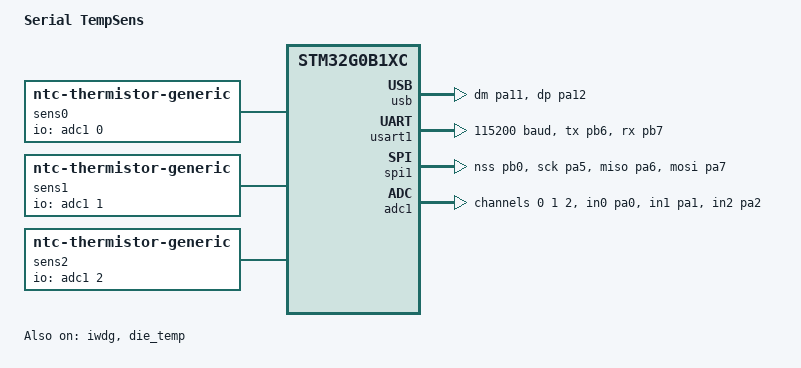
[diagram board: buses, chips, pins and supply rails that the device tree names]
/dts-v1/;
#include <st/g0/stm32g0b1Xc.dtsi>
#include <st/g0/stm32g0b1k(b-c-e)tx-pinctrl.dtsi>
#include <zephyr/dt-bindings/adc/adc.h>

/ {
	model = "Serial TempSens";
	compatible = "oschimdh,serial_temp_sens";

	chosen {
		zephyr,console = &usart1;
		zephyr,shell-uart = &usart1;
		zephyr,com-uart = &cdc_acm_uart0;
		zephyr,sram = &sram0;
		zephyr,flash = &flash0;
		zephyr,code-partition = &slot0_partition;
	};

	sens0: sens0 {
		compatible = "ntc-thermistor-generic";
		zephyr,compensation-table = <(-25) 101898>,
                     <(-15) 59605>,
                     <(-5) 36289>,
                     <(5) 22896>,
                     <(15) 14915>,
                     <(25) 10000>,
                     <(35) 6880>,
                     <(45) 4846>,
                     <(55) 3487>,
                     <(65) 2559>,
                     <(75) 1911>,
                     <(85) 1451>,
                     <(95) 1118>,
                     <(105) 873>,
                     <(115) 691>,
                     <(125) 553>;
		io-channels = <&adc1 0>;
		pullup-uv = <3300000>;
		pullup-ohm = <8200>;
		pulldown-ohm = <0>;
	};

	sens1: sens1 {
		compatible = "ntc-thermistor-generic";
		zephyr,compensation-table = <(-25) 101898>,
                     <(-15) 59605>,
                     <(-5) 36289>,
                     <(5) 22896>,
                     <(15) 14915>,
                     <(25) 10000>,
                     <(35) 6880>,
                     <(45) 4846>,
                     <(55) 3487>,
                     <(65) 2559>,
                     <(75) 1911>,
                     <(85) 1451>,
                     <(95) 1118>,
                     <(105) 873>,
                     <(115) 691>,
                     <(125) 553>;
		io-channels = <&adc1 1>;
		pullup-uv = <3300000>;
		pullup-ohm = <8200>;
		pulldown-ohm = <0>;
	};

	sens2: sens2 {
		compatible = "ntc-thermistor-generic";
		zephyr,compensation-table = <(-25) 101898>,
                     <(-15) 59605>,
                     <(-5) 36289>,
                     <(5) 22896>,
                     <(15) 14915>,
                     <(25) 10000>,
                     <(35) 6880>,
                     <(45) 4846>,
                     <(55) 3487>,
                     <(65) 2559>,
                     <(75) 1911>,
                     <(85) 1451>,
                     <(95) 1118>,
                     <(105) 873>,
                     <(115) 691>,
                     <(125) 553>;
		io-channels = <&adc1 2>;
		pullup-uv = <3300000>;
		pullup-ohm = <8200>;
		pulldown-ohm = <0>;
	};
};

&clk_hsi {
	status = "okay";
};

&clk_hsi48 {
	status = "okay";
	crs-usb-sof;
};

&pll {
	div-m = <1>;
	mul-n = <8>;
	div-p = <2>;
	div-q = <2>;
	div-r = <2>;
	clocks = <&clk_hsi>;
	status = "okay";
};

&rcc {
	clocks = <&pll>;
	clock-frequency = <DT_FREQ_M(64)>;
	ahb-prescaler = <1>;
	apb1-prescaler = <1>;
};

zephyr_udc0: &usb {
	pinctrl-0 = <&usb_dm_pa11 &usb_dp_pa12>;
	pinctrl-names = "default";
	status = "okay";

	cdc_acm_uart0: cdc_acm_uart0 {
		compatible = "zephyr,cdc-acm-uart";
	};
};

&usart1 {
	pinctrl-0 = <&usart1_tx_pb6 &usart1_rx_pb7>;
	pinctrl-names = "default";
	current-speed = <115200>;
	status = "okay";
};

&spi1 {
	pinctrl-0 = <&spi1_nss_pb0 &spi1_sck_pa5
	&spi1_miso_pa6 &spi1_mosi_pa7>;
	pinctrl-names = "default";
	status = "okay";
};

&adc1 {
	pinctrl-0 = <&adc1_in0_pa0 &adc1_in1_pa1 &adc1_in2_pa2>;
	pinctrl-names = "default";
	st,adc-clock-source = <SYNC>;
	st,adc-prescaler = <4>;
	#address-cells = <1>;
    #size-cells = <0>;
	status = "okay";

	channel@0 {
		reg = <0>;
		zephyr,gain = "ADC_GAIN_1_6";
		zephyr,reference = "ADC_REF_INTERNAL";
		zephyr,acquisition-time = <ADC_ACQ_TIME_DEFAULT>;
		zephyr,resolution = <12>;
	};

	channel@1 {
		reg = <1>;
		zephyr,gain = "ADC_GAIN_1_6";
		zephyr,reference = "ADC_REF_INTERNAL";
		zephyr,acquisition-time = <ADC_ACQ_TIME_DEFAULT>;
		zephyr,resolution = <12>;
	};

	channel@2 {
		reg = <2>;
		zephyr,gain = "ADC_GAIN_1_6";
		zephyr,reference = "ADC_REF_INTERNAL";
		zephyr,acquisition-time = <ADC_ACQ_TIME_DEFAULT>;
		zephyr,resolution = <12>;
	};
};

&iwdg {
	status = "okay";
};

&die_temp {
	status = "okay";
};

&flash0 {
	partitions {
		compatible = "fixed-partitions";
		#address-cells = <1>;
		#size-cells = <1>;

		boot_partition: partition@0 {
			label = "mcuboot";
			reg = <0x00000000 DT_SIZE_K(32)>;
			read-only;
		};
		slot0_partition: partition@8000 {
			label = "image-0";
			reg = <0x00008000 DT_SIZE_K(100)>;
		};
		slot1_partition: partition@21000 {
			label = "image-1";
			reg = <0x00021000 DT_SIZE_K(100)>;
		};
		/* final 64KiB reserved for app storage partition */
		storage_partition: partition@3A000 {
			label = "storage";
			reg = <0x0003A000 DT_SIZE_K(24)>;
		};
	};
};
